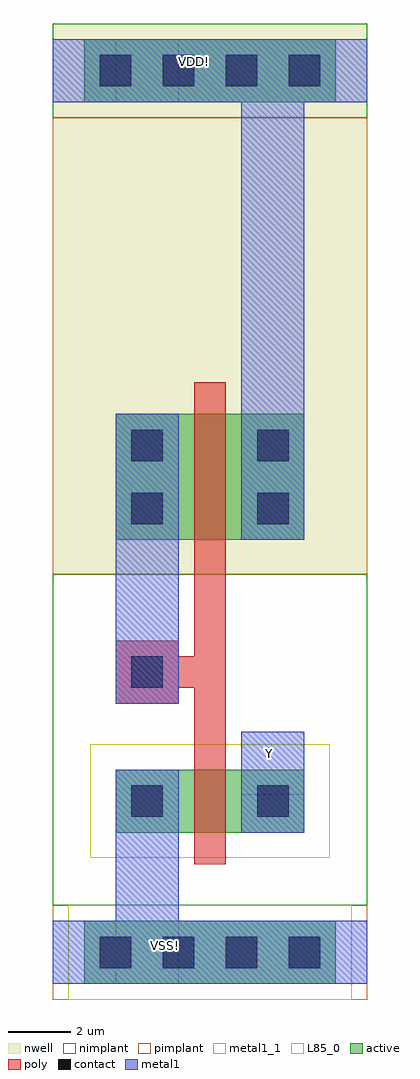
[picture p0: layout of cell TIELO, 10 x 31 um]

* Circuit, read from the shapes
.subckt TIELO VDD! VSS! Y
M1 Y n1 VSS! VSS! nfet w=2u l=1u
M2 VDD! n1 n1 VDD! pfet w=4u l=1u
.ends

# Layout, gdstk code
import gdstk
lib = gdstk.Library(unit=1e-6, precision=5e-10)
def R(c, l, rs):  # rectangles x0, y0, x1, y1
    for r in rs: c.add(gdstk.rectangle(r[:2], r[2:], *l))
def A(c, l, x, y, w, h, nx, ny, dx, dy):  # array of equal rectangles
    R(c, l, [(x+i*dx, y+j*dy, x+i*dx+w, y+j*dy+h) for i in range(nx) for j in range(ny)])
active = (1, 0)
nwell = (2, 0)
poly = (3, 0)
nimplant = (4, 0)
pimplant = (5, 0)
contact = (6, 0)
metal1 = (7, 0)
metal1_1 = (7, 1)
L85_0 = (85, 0)

nmos4_cdns_4 = lib.new_cell('nmos4_CDNS_4')
R(nmos4_cdns_4, active, [(1,1,7,3)])
R(nmos4_cdns_4, poly, [(3.5,0,4.5,4), (3.6,3.4,4.4,3.9)])
R(nmos4_cdns_4, nimplant, [(0,0,8,4)])
R(nmos4_cdns_4, contact, [(1.5,1.5,2.5,2.5), (5.5,1.5,6.5,2.5)])
R(nmos4_cdns_4, metal1, [(1,1,3,3), (5,1,7,3), (1.3,1.3,2.7,2.7), (5.3,1.3,6.7,2.7)])
R(nmos4_cdns_4, L85_0, [(0.2,0.2,7.8,3.8)])

pmos4_cdns_5 = lib.new_cell('pmos4_CDNS_5')
R(pmos4_cdns_5, active, [(1,1,7,5)])
R(pmos4_cdns_5, nwell, [(0.2,0.2,7.8,5.8)])
R(pmos4_cdns_5, poly, [(3.5,0,4.5,6), (3.6,5.5,4.4,5.9)])
R(pmos4_cdns_5, pimplant, [(0,0,8,6)])
R(pmos4_cdns_5, contact, [(1.5,1.5,2.5,2.5), (5.5,1.5,6.5,2.5), (1.5,3.5,2.5,4.5), (5.5,3.5,6.5,4.5)])
R(pmos4_cdns_5, metal1, [(1,1,3,5), (5,1,7,5), (1.3,1.3,2.7,2.7), (5.3,1.3,6.7,2.7)])

m1_psub_cdns_1 = lib.new_cell('M1_PSUB_CDNS_1')
R(m1_psub_cdns_1, active, [(-4,-1,4,1)])
R(m1_psub_cdns_1, pimplant, [(-4.5,-1.5,4.5,1.5)])
A(m1_psub_cdns_1, contact, -3.5, -0.5, 1, 1, 4, 1, 2, 0)
R(m1_psub_cdns_1, metal1, [(-4,-1,4,1)])
R(m1_psub_cdns_1, L85_0, [(-4.5,-1.5,4.5,1.5)])

m1_nwell_cdns_2 = lib.new_cell('M1_NWELL_CDNS_2')
R(m1_nwell_cdns_2, active, [(-4,-1,4,1)])
R(m1_nwell_cdns_2, nwell, [(-4.5,-1.5,4.5,1.5)])
R(m1_nwell_cdns_2, nimplant, [(-4.5,-1.5,4.5,1.5)])
A(m1_nwell_cdns_2, contact, -3.5, -0.5, 1, 1, 4, 1, 2, 0)
R(m1_nwell_cdns_2, metal1, [(-4,-1,4,1)])

m1_po_cdns_3 = lib.new_cell('M1_PO_CDNS_3')
R(m1_po_cdns_3, poly, [(-1,-1,1,1)])
R(m1_po_cdns_3, contact, [(-0.5,-0.5,0.5,0.5)])
R(m1_po_cdns_3, metal1, [(-1,-1,1,1)])

tielo = lib.new_cell('TIELO')
R(tielo, nwell, [(0,12,10,29.5)])
R(tielo, nimplant, [(0,1.5,10,12), (0,26.5,10,29.5)])
R(tielo, pimplant, [(0,-1.5,10,1.5), (0,12,10,26.5)])
R(tielo, metal1, [(0,-1,10,1), (2,0,4,4.6), (6,3.9,8,7), (2,7.9,4,17.1), (6,13.1,8,17.1), (6,16,8,28.5), (0,27,10,29)])
R(tielo, metal1_1, [(2,-1,4,1), (6,5,8,7), (2,27,4,29)])
tielo.add(gdstk.FlexPath([(5,8.9),(5,6.8)], 1, ends=(0.5, 0), simple_path=True, layer=3, datatype=0))  # poly
tielo.add(gdstk.FlexPath([(5,8.9),(3,8.9)], 1, ends=(0.5, 0), simple_path=True, layer=3, datatype=0))  # poly
tielo.add(gdstk.FlexPath([(5,12.1),(5,8.9)], 1, ends=(0, 0.5), simple_path=True, layer=3, datatype=0))  # poly
tielo.add(gdstk.Reference(nmos4_cdns_4, (1,2.8)))
tielo.add(gdstk.Reference(pmos4_cdns_5, (1,12.1)))
tielo.add(gdstk.Reference(m1_psub_cdns_1, (5,0)))
tielo.add(gdstk.Reference(m1_nwell_cdns_2, (5,28)))
tielo.add(gdstk.Reference(m1_po_cdns_3, (3,8.9)))
tielo.add(gdstk.Label('Y', (6.9,6.3), layer=7, texttype=3))
tielo.add(gdstk.Label('VSS!', (3.6,0.2), layer=7, texttype=3))
tielo.add(gdstk.Label('VDD!', (4.5,28.3), layer=7, texttype=3))

lib.write_gds('TIELO.gds')
